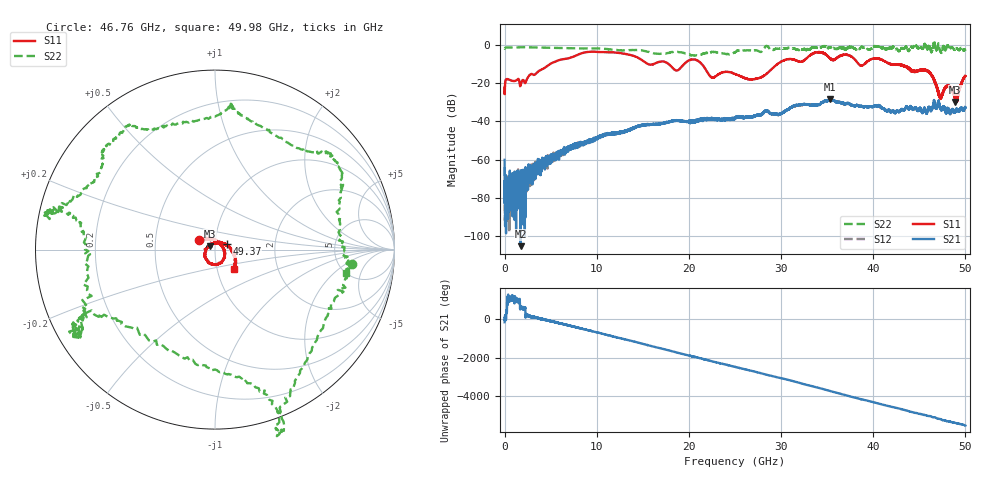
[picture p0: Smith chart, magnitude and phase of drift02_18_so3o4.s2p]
!Created with skrf (http://scikit-rf.org).
# Hz S RI R 50.0
!freq ReS11 ImS11 ReS21 ImS21 ReS12 ImS12 ReS22 ImS22
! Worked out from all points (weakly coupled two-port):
!   10001 points, 300 kHz to 50 GHz, reference 50 ohm
!   highest |S21| = -28.50 dB at 35.31 GHz (marker M1); lowest = -105.1 dB at 1.735 GHz (marker M2)
!   lowest |S11| = -29.9 dB at 48.91 GHz (marker M3), VSWR 1.07, Z = 47.4 + j1.71 ohm
!   |S11| at or under -10 dB: start of sweep to 4.957 GHz; 21.38 GHz to 29.63 GHz (8.256 GHz wide, 32.4 % of centre); 41.82 GHz to end of sweep (the widest 3 of 9)
!   |S22| runs from -5.7 to 2.2 dB; largest |S21 - S12| = 0.0032
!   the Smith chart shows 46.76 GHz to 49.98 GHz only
!   S11 on the Smith chart (normalised r, x): 46.76 GHz: 0.84, +0.09; 49.37 GHz: 1.14, +0.07; 49.98 GHz: 1.20, -0.27
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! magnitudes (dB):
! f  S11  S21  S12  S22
! 300 kHz  -22.3  -60.0  -63.8  -2.1
! 255.3 MHz  -17.9  -73.4  -84.0  -1.4
! 1.735 GHz  -21.2  -105.1  -79.1  -1.4
! 3.585 GHz  -14.2  -64.0  -65.3  -1.5
! 8.335 GHz  -4.5  -51.9  -51.8  -1.9
! 16.67 GHz  -9.1  -41.4  -41.4  -4.7
! 18.7 GHz  -13.5  -39.6  -39.6  -3.7
! 20.6 GHz  -7.7  -40.1  -40.0  -5.7
! 22.5 GHz  -17.1  -38.7  -39.0  -3.7
! 25 GHz  -15.2  -38.5  -38.2  -3.9
! 27.47 GHz  -17.6  -36.4  -36.7  -3.2
! 33.34 GHz  -4.9  -31.4  -31.4  -1.6
! 35.31 GHz  -7.0  -28.5  -28.7  -1.4
! 41.67 GHz  -9.7  -34.2  -34.3  -1.9
! 45.78 GHz  -13.4  -35.8  -35.8  -2.0
! 46.76 GHz  -19.9  -32.8  -33.0  -2.3
! 47.27 GHz  -27.2  -32.9  -33.0  -3.3
! 48.14 GHz  -21.6  -33.3  -33.4  -0.8
! 48.91 GHz  -29.9  -34.3  -34.7  -2.8
! 49.37 GHz  -22.8  -34.4  -34.7  -2.8
! 49.98 GHz  -16.4  -32.6  -33.1  -2.6
! 50 GHz  -16.3  -32.7  -32.4  -2.5
